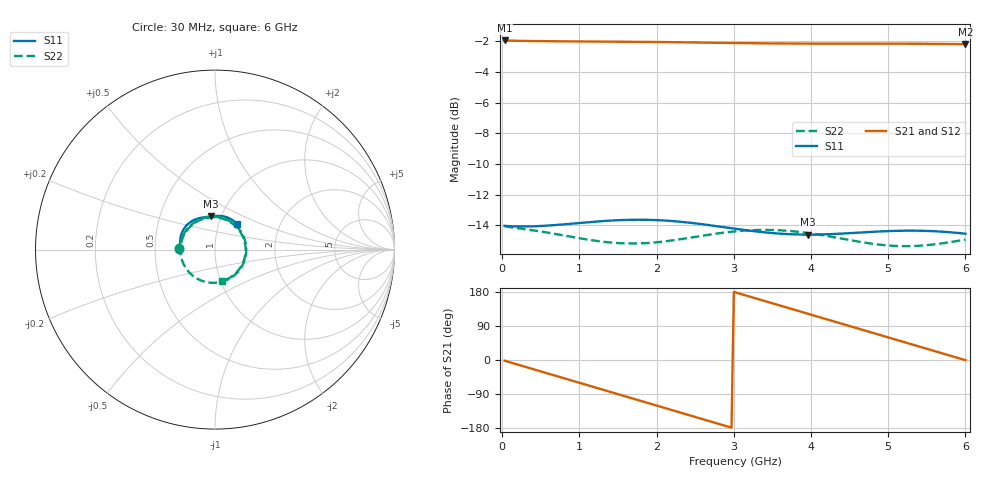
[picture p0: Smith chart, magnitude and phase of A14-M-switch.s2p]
! yapnr Order 0 O0-M: O0-M A14 SHUNT 100R (switch, family M)
! stackup OSHPARK-4L-EM528, nominal parameters; geometry of the OSHPARK-4L-FR408HR design
! model: 2D quasi-static RLGC (Djordjevic-Sarkar, Huray roughness, Wheeler loss); generated by python -m yapnr.rf.coupons expected --stackup OSHPARK-4L-FR408HR --upload M
! reference planes 10 mm from each end; 50 ohm (from the M line's Zc)
# GHz S DB R 50
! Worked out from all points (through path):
!   200 points, 30 MHz to 6 GHz, reference 50 ohm
!   highest |S21| = -1.95 dB at 30 MHz (marker M1); lowest = -2.2 dB at 6 GHz (marker M2)
!   group delay of S21, straight-line fit = 167 ps
!   lowest |S11| = -14.6 dB at 3.96 GHz (marker M3), VSWR 1.46, Z = 44.6 + j17.1 ohm
!   |S11| at or under -10 dB: start of sweep to end of sweep
!   |S22| runs from -15.3 to -14.0 dB; largest |S21 - S12| = 0
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0.03  -14.02 179.3  -1.95 -1.9  -1.95 -1.9  -14.05 176.8
0.27  -14.07 175.1  -1.98 -16.4  -1.98 -16.4  -14.22 153.1
0.51  -14.03 170.9  -2.00 -30.8  -2.00 -30.8  -14.40 129.5
0.78  -13.93 165.9  -2.01 -47.0  -2.01 -47.0  -14.63 102.4
1.05  -13.81 160.4  -2.02 -63.2  -2.02 -63.2  -14.87 74.6
1.29  -13.72 155.2  -2.02 -77.6  -2.02 -77.6  -15.05 49.3
1.53  -13.65 149.7  -2.03 -92.0  -2.03 -92.0  -15.15 23.6
1.77  -13.62 143.9  -2.04 -106.5  -2.04 -106.5  -15.17 -2.3
2.04  -13.66 137.3  -2.05 -122.7  -2.05 -122.7  -15.07 -31.3
2.55  -13.89 125.2  -2.09 -153.4  -2.09 -153.4  -14.70 -84.3
2.79  -14.05 119.8  -2.10 -167.8  -2.10 -167.8  -14.52 -108.4
3.03  -14.22 114.8  -2.12 177.8  -2.12 177.8  -14.38 -132.0
3.48  -14.49 106.1  -2.14 150.9  -2.14 150.9  -14.29 -175.4
3.96  -14.59 97.3  -2.16 122.2  -2.16 122.2  -14.49 138.2
4.02  -14.59 96.2  -2.16 118.6  -2.16 118.6  -14.53 132.2
4.29  -14.55 90.9  -2.16 102.5  -2.16 102.5  -14.76 105.3
4.53  -14.49 85.9  -2.16 88.1  -2.16 88.1  -14.98 80.6
4.77  -14.42 80.6  -2.16 73.7  -2.16 73.7  -15.17 55.4
5.01  -14.36 74.9  -2.16 59.2  -2.16 59.2  -15.31 29.5
5.52  -14.36 61.9  -2.17 28.5  -2.17 28.5  -15.27 -25.9
5.76  -14.42 55.7  -2.18 14.0  -2.18 14.0  -15.12 -51.6
6  -14.54 49.6  -2.19 -0.4  -2.19 -0.4  -14.92 -76.7
